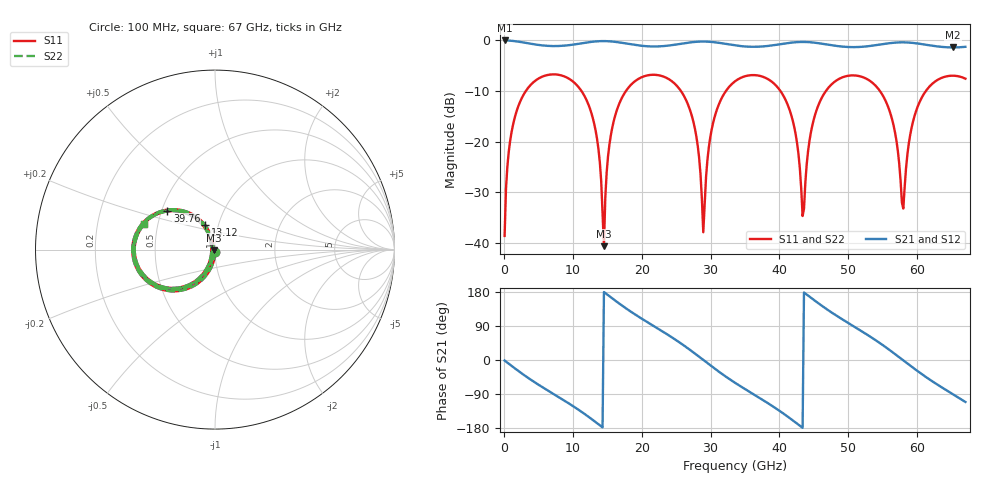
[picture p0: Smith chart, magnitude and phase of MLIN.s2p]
! Created with skrf (http://scikit-rf.org).
# Hz S RI R 50.0
!freq ReS11 ImS11 ReS21 ImS21 ReS12 ImS12 ReS22 ImS22
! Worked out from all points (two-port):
!   335 points, 100 MHz to 67 GHz, reference 50 ohm
!   highest |S21| = -0.03 dB at 100 MHz (marker M1); lowest = -1.4 dB at 65.2 GHz (marker M2)
!   |S21| within 3 dB of the highest: start of sweep to end of sweep
!   lowest |S11| = -40.7 dB at 14.52 GHz (marker M3), VSWR 1.02, Z = 49.2 - j0.461 ohm
!   |S11| at or under -10 dB: 25.69 GHz to 32.24 GHz (6.548 GHz wide, 22.6 % of centre); 40.14 GHz to 46.75 GHz (6.613 GHz wide, 15.2 % of centre); 54.59 GHz to 61.27 GHz (6.68 GHz wide, 11.5 % of centre)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
!   |S22| runs from -40.7 to -6.7 dB; largest |S21 - S12| = 4.1e-15
!   S11 on the Smith chart (normalised r, x): 100 MHz: 1.00, -0.02; 13.12 GHz: 0.86, +0.24; 39.76 GHz: 0.54, +0.26; 67 GHz: 0.42, +0.14
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1e8  0.00246 -0.0114  0.9968 -0.0245  0.9968 -0.0245  0.00246 -0.0114
9.011976e8  -0.02 -0.0993  0.9678 -0.2167  0.9678 -0.2167  -0.02 -0.0993
2.703892e9  -0.1657 -0.2233  0.7642 -0.5744  0.7642 -0.5744  -0.1657 -0.2233
1.131677e10  -0.216 0.2245  -0.6881 -0.6338  -0.6881 -0.6338  -0.216 0.2245
1.311946e10  -0.0554 0.1381  -0.9203 -0.3147  -0.9203 -0.3147  -0.0554 0.1381
1.452156e10  -0.00799 -0.00469  -0.9827 0.0102  -0.9827 0.0102  -0.00799 -0.00469
1.632425e10  -0.0911 -0.175  -0.869 0.4139  -0.869 0.4139  -0.0911 -0.175
2.253353e10  -0.4458 0.0681  0.1373 0.8609  0.1373 0.8609  -0.4458 0.0681
2.734072e10  -0.0767 0.1558  0.8867 0.3646  0.8867 0.3646  -0.0767 0.1558
2.894311e10  -0.0126 0.00165  0.9726 0.00367  0.9726 0.00367  -0.0126 0.00165
3.014491e10  -0.0482 -0.1203  0.9244 -0.2733  0.9244 -0.2733  -0.0482 -0.1203
3.355e10  -0.344 -0.1912  0.4454 -0.7727  0.4454 -0.7727  -0.344 -0.1912
3.975928e10  -0.2649 0.2161  -0.5957 -0.6851  -0.5957 -0.6851  -0.2649 0.2161
4.236317e10  -0.0453 0.1084  -0.9257 -0.2465  -0.9257 -0.2465  -0.0453 0.1084
4.336467e10  -0.0167 0.00774  -0.9638 -0.0172  -0.9638 -0.0172  -0.0167 0.00774
4.476677e10  -0.06 -0.1302  -0.9047 0.3007  -0.9047 0.3007  -0.06 -0.1302
5.017485e10  -0.4465 -0.0422  -0.0833 0.8541  -0.0833 0.8541  -0.4465 -0.0422
5.598353e10  -0.1057 0.1715  0.8383 0.4185  0.8383 0.4185  -0.1057 0.1715
5.798653e10  -0.0206 -0.00721  0.9551 -0.0161  0.9551 -0.0161  -0.0206 -0.00721
5.998952e10  -0.1173 -0.1788  0.8203 -0.4429  0.8203 -0.4429  -0.1173 -0.1788
6.519731e10  -0.4474 0.0031  -0.00676 -0.8507  -0.00676 -0.8507  -0.4474 0.0031
6.7e10  -0.394 0.1402  -0.3054 -0.8072  -0.3054 -0.8072  -0.394 0.1402
